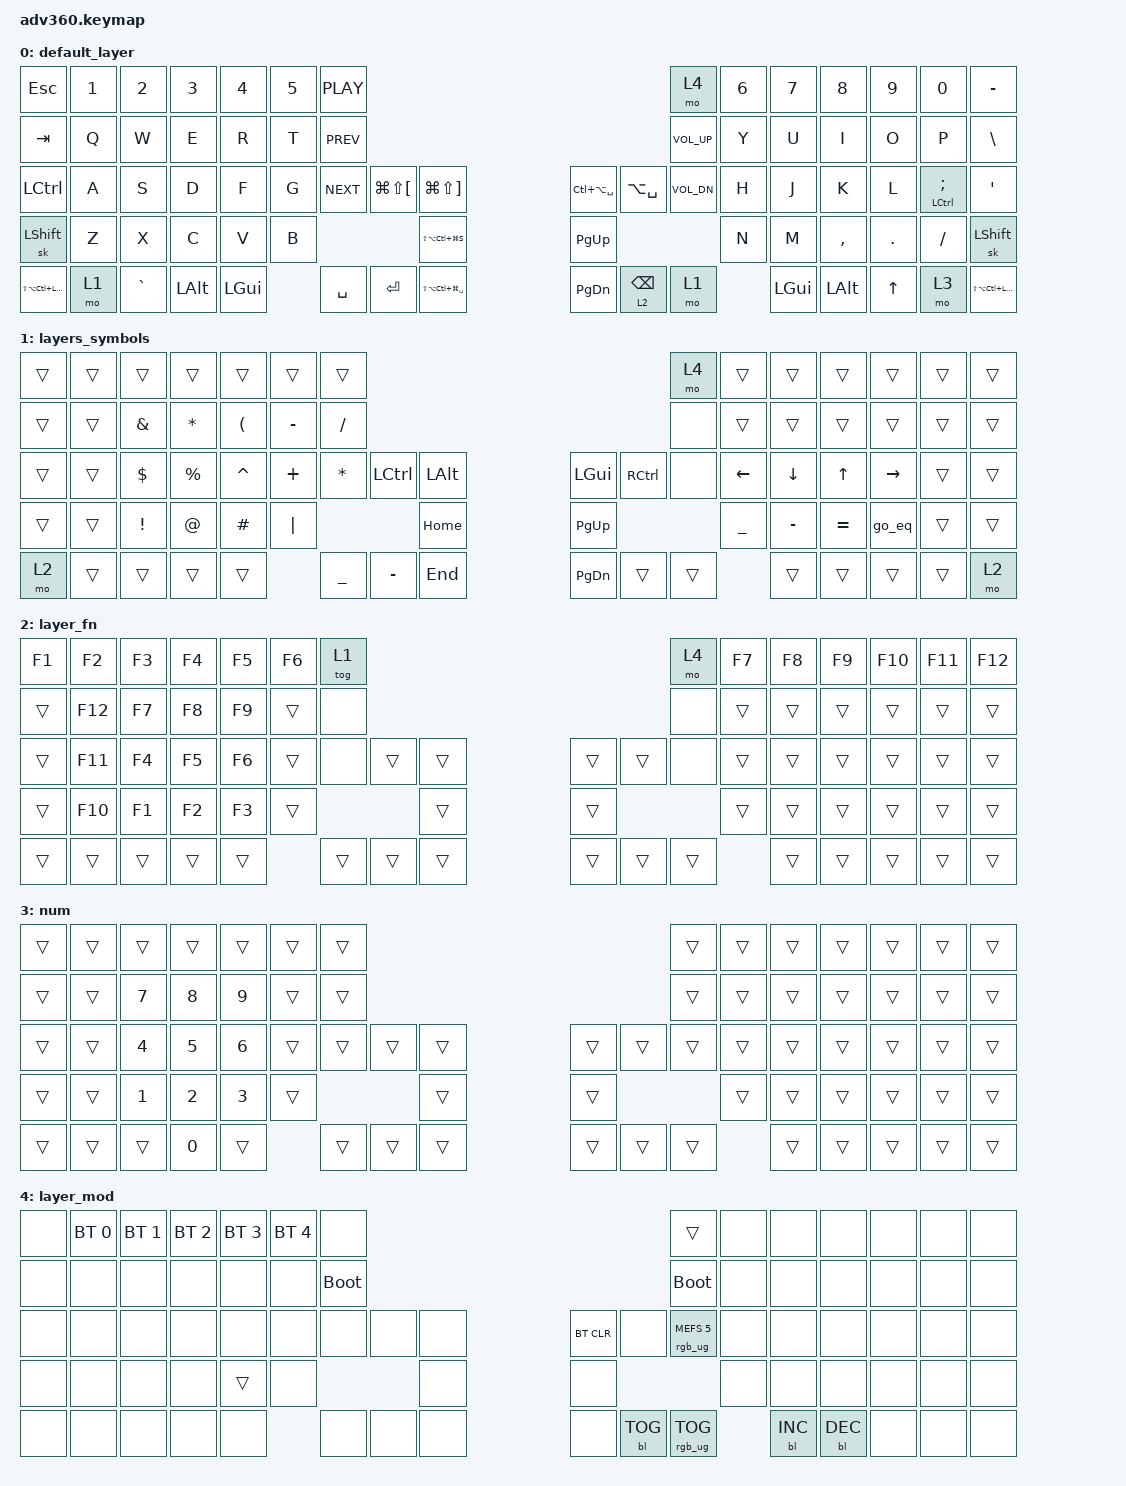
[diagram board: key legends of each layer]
/*
 * Copyright (c) 2020 The ZMK Contributors
 *
 * SPDX-License-Identifier: MIT
 */
/* THIS FILE WAS GENERATED!
 *
 * This file was generated automatically. You may or may not want to
 * edit it directly.
 */

#include <behaviors.dtsi>
#include <dt-bindings/zmk/backlight.h>
#include <dt-bindings/zmk/bt.h>
#include <dt-bindings/zmk/keys.h>
#include <dt-bindings/zmk/rgb.h>

#define COMBO_TERM_FAST 30
#define COMBO_TERM_SLOW 70
#define COMBO_IDLE 120

&mt {
    flavor = "balanced";
    tapping-term-ms = <180>;
    require-prior-idle-ms = <COMBO_IDLE>;
};

&lt {
    flavor = "balanced";
    quick-tap-ms = <200>;
};

/ {
    behaviors {
        #include "macros.dtsi"
    #include "version.dtsi"

        hm: homerow_mods {
            compatible = "zmk,behavior-hold-tap";
            label = "HOMEROW_MODS";
            #binding-cells = <2>;
            tapping-term-ms = <200>;
            quick_tap_ms = <175>;
            flavor = "tap-preferred";
            bindings = <&kp>, <&kp>;
        };

        caps_shift: caps_shift {
            compatible = "zmk,behavior-tap-dance";
            label = "CAPS_SHIFT";
            #binding-cells = <0>;
            bindings = <&sk LEFT_SHIFT>, <&caps_word>;

            tapping-term-ms = <200>;
        };

        lpar: lpar {
            compatible = "zmk,behavior-mod-morph";
            label = "LPAR";
            bindings = <&kp LEFT_PARENTHESIS>, <&kp LESS_THAN>;

            #binding-cells = <0>;
            mods = <(MOD_LSFT)>;
        };

        rpar: rpar {
            compatible = "zmk,behavior-mod-morph";
            label = "RPAR";
            bindings = <&kp RIGHT_PARENTHESIS>, <&kp GREATER_THAN>;

            #binding-cells = <0>;
            mods = <(MOD_LSFT)>;
        };
    };

    macros {
        go_eq: go_eq {
            compatible = "zmk,behavior-macro";
            #binding-cells = <0>;
            bindings = <&none &kp COLON &kp EQUAL &kp SPACE>;
            label = "GO_EQ";
        };
    };

    combos {
        compatible = "zmk,combos";

        lpar {
            bindings = <&lpar>;
            key-positions = <41 42>;
            layers = <0>;
            require-prior-idle-ms = <COMBO_IDLE>;
            timeout-ms = <COMBO_TERM_FAST>;
        };

        rpar {
            bindings = <&rpar>;
            key-positions = <42 43>;
            layers = <0>;
            require-prior-idle-ms = <COMBO_IDLE>;
            timeout-ms = <COMBO_TERM_FAST>;
        };

        eql {
            bindings = <&kp EQUAL>;
            key-positions = <31 32>;
            require-prior-idle-ms = <COMBO_IDLE>;
            layers = <0>;
            timeout-ms = <COMBO_TERM_FAST>;
        };

        minus {
            bindings = <&kp MINUS>;
            key-positions = <31 30>;
            require-prior-idle-ms = <COMBO_IDLE>;
            layers = <0>;
            timeout-ms = <COMBO_TERM_FAST>;
        };

        enter {
            bindings = <&kp ENTER>;
            key-positions = <56 57>;
            require-prior-idle-ms = <COMBO_IDLE>;
            timeout-ms = <COMBO_TERM_SLOW>;
        };

        lbkt {
            bindings = <&kp LEFT_BRACKET>;
            key-positions = <23 24>;
            require-prior-idle-ms = <COMBO_IDLE>;
            layers = <0>;
            timeout-ms = <COMBO_TERM_FAST>;
        };

        rbkt {
            bindings = <&kp RIGHT_BRACKET>;
            key-positions = <25 24>;
            require-prior-idle-ms = <COMBO_IDLE>;
            layers = <0>;
            timeout-ms = <COMBO_TERM_FAST>;
        };

        underscore {
            bindings = <&kp UNDERSCORE>;
            key-positions = <30 29>;
            require-prior-idle-ms = <COMBO_IDLE>;
            layers = <0>;
        };

        copy {
            bindings = <&kp LG(C)>;
            key-positions = <48 49>;
            layers = <0>;
        };

        paste {
            bindings = <&kp LG(V)>;
            key-positions = <49 50>;
            layers = <0>;
        };

        undo {
            bindings = <&kp LG(Z)>;
            key-positions = <47 48>;
            layers = <0>;
        };

        backspace {
            bindings = <&kp BACKSPACE>;
            key-positions = <56 55>;
            timeout-ms = <COMBO_TERM_SLOW>;
            require-prior-idle-ms = <COMBO_IDLE>;
        };
    };

    keymap {
        compatible = "zmk,keymap";

        default_layer {
            bindings = <
&kp ESCAPE            &kp N1  &kp N2     &kp N3    &kp N4    &kp N5  &kp C_PLAY                                                                                               &mo 4         &kp N6  &kp N7    &kp N8     &kp N9   &kp N0          &kp MINUS
&kp TAB               &kp Q   &kp W      &kp E     &kp R     &kp T   &kp C_PREV                                                                                               &kp C_VOL_UP  &kp Y   &kp U     &kp I      &kp O    &kp P           &kp BSLH
&kp LEFT_CONTROL      &kp A   &kp S      &kp D     &kp F     &kp G   &kp C_NEXT  &kp LG(LS(LEFT_BRACKET))  &kp LG(LS(RIGHT_BRACKET))      &kp LC(LA(SPACE))  &kp LA(SPACE)    &kp C_VOL_DN  &kp H   &kp J     &kp K      &kp L    &mt LCTRL SEMI  &kp SINGLE_QUOTE
&sk LSHFT             &kp Z   &kp X      &kp C     &kp V     &kp B                                         &kp LS(LA(LC(LG(S))))          &kp PG_UP                                         &kp N   &kp M     &kp COMMA  &kp DOT  &kp FSLH        &sk LSHFT
&kp LS(LA(LC(LGUI)))  &mo 1   &kp GRAVE  &kp LALT  &kp LGUI          &kp SPACE   &kp ENTER                 &kp LS(LA(LC(LG(SPACE))))      &kp PG_DN          &lt 2 BACKSPACE  &mo 1                 &kp LGUI  &kp LALT   &kp UP   &mo 3           &kp LS(LA(LC(LGUI)))
            >;
        };

        layers_symbols {
            bindings = <
&trans  &trans  &trans      &trans       &trans                &trans     &trans                                                       &mo 4   &trans     &trans     &trans     &trans     &trans  &trans
&trans  &trans  &kp AMPS    &kp STAR     &kp LEFT_PARENTHESIS  &kp MINUS  &kp SLASH                                                    &none   &trans     &trans     &trans     &trans     &trans  &trans
&trans  &trans  &kp DOLLAR  &kp PERCENT  &kp CARET             &kp PLUS   &kp ASTERISK  &kp LCTRL  &kp LALT      &kp LGUI   &kp RCTRL  &none   &kp LEFT   &kp DOWN   &kp UP     &kp RIGHT  &trans  &trans
&trans  &trans  &kp EXCL    &kp AT       &kp HASH              &kp PIPE                            &kp HOME      &kp PG_UP                     &kp UNDER  &kp MINUS  &kp EQUAL  &go_eq     &trans  &trans
&mo 2   &trans  &trans      &trans       &trans                           &kp UNDER     &kp MINUS  &kp END       &kp PG_DN  &trans     &trans             &trans     &trans     &trans     &trans  &mo 2
            >;
        };

        layer_fn {
            bindings = <
&kp F1  &kp F2   &kp F3  &kp F4  &kp F5  &kp F6  &tog 1                                      &mo 4   &kp F7  &kp F8  &kp F9  &kp F10  &kp F11  &kp F12
&trans  &kp F12  &kp F7  &kp F8  &kp F9  &trans  &none                                       &none   &trans  &trans  &trans  &trans   &trans   &trans
&trans  &kp F11  &kp F4  &kp F5  &kp F6  &trans  &none   &trans  &trans      &trans  &trans  &none   &trans  &trans  &trans  &trans   &trans   &trans
&trans  &kp F10  &kp F1  &kp F2  &kp F3  &trans                  &trans      &trans                  &trans  &trans  &trans  &trans   &trans   &trans
&trans  &trans   &trans  &trans  &trans          &trans  &trans  &trans      &trans  &trans  &trans          &trans  &trans  &trans   &trans   &trans
            >;
        };

        num {
            bindings = <
&trans  &trans  &trans  &trans  &trans  &trans  &trans                                      &trans  &trans  &trans  &trans  &trans  &trans  &trans
&trans  &trans  &kp N7  &kp N8  &kp N9  &trans  &trans                                      &trans  &trans  &trans  &trans  &trans  &trans  &trans
&trans  &trans  &kp N4  &kp N5  &kp N6  &trans  &trans  &trans  &trans      &trans  &trans  &trans  &trans  &trans  &trans  &trans  &trans  &trans
&trans  &trans  &kp N1  &kp N2  &kp N3  &trans                  &trans      &trans                  &trans  &trans  &trans  &trans  &trans  &trans
&trans  &trans  &trans  &kp N0  &trans          &trans  &trans  &trans      &trans  &trans  &trans          &trans  &trans  &trans  &trans  &trans
            >;
        };

        layer_mod {
            bindings = <
&none  &bt BT_SEL 0  &bt BT_SEL 1  &bt BT_SEL 2  &bt BT_SEL 3  &bt BT_SEL 4  &none                                                  &trans                  &none  &none       &none       &none  &none  &none
&none  &none         &none         &none         &none         &none         &bootloader                                            &bootloader             &none  &none       &none       &none  &none  &none
&none  &none         &none         &none         &none         &none         &none        &none  &none      &bt BT_CLR  &none       &rgb_ug RGB_MEFS_CMD 5  &none  &none       &none       &none  &none  &none
&none  &none         &none         &none         &trans        &none                             &none      &none                                           &none  &none       &none       &none  &none  &none
&none  &none         &none         &none         &none                       &none        &none  &none      &none       &bl BL_TOG  &rgb_ug RGB_TOG                &bl BL_INC  &bl BL_DEC  &none  &none  &none
            >;
        };
    };
};
